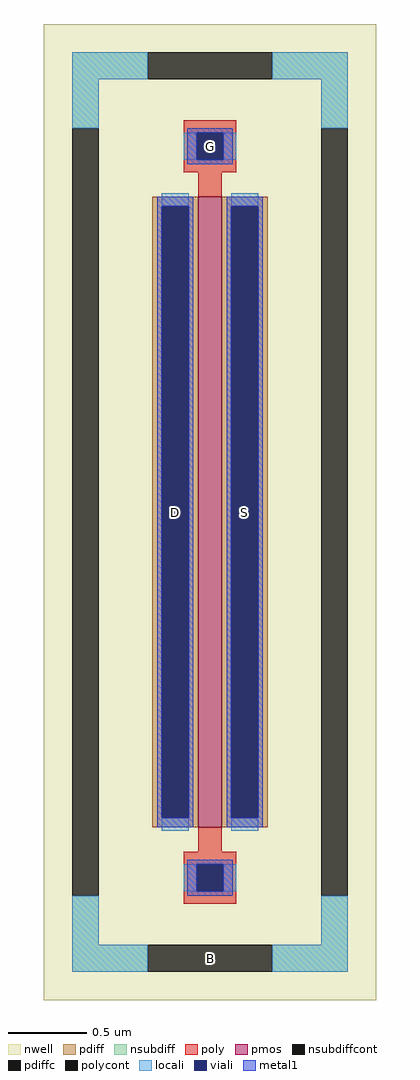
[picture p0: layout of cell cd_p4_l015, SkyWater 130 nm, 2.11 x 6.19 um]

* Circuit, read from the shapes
.subckt cd_p4_l015 B D S G
XM1 S G D B sky130_fd_pr__pfet_01v8 w=4 l=0.15
.ends

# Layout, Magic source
magic
tech sky130A
magscale 1 2
<< nwell >>
rect -211 -619 211 619
<< pmos >>
rect -15 -400 15 400
<< pdiff >>
rect -73 388 -15 400
rect -73 -388 -61 388
rect -27 -388 -15 388
rect -73 -400 -15 -388
rect 15 388 73 400
rect 15 -388 27 388
rect 61 -388 73 388
rect 15 -400 73 -388
<< pdiffc >>
rect -61 -388 -27 388
rect 27 -388 61 388
<< nsubdiff >>
rect -175 549 -79 583
rect 79 549 175 583
rect -175 487 -141 549
rect 141 487 175 549
rect -175 -549 -141 -487
rect 141 -549 175 -487
rect -175 -583 -79 -549
rect 79 -583 175 -549
<< nsubdiffcont >>
rect -79 549 79 583
rect -175 -487 -141 487
rect 141 -487 175 487
rect -79 -583 79 -549
<< poly >>
rect -33 481 33 497
rect -33 447 -17 481
rect 17 447 33 481
rect -33 431 33 447
rect -15 400 15 431
rect -15 -431 15 -400
rect -33 -447 33 -431
rect -33 -481 -17 -447
rect 17 -481 33 -447
rect -33 -497 33 -481
<< polycont >>
rect -17 447 17 481
rect -17 -481 17 -447
<< locali >>
rect -175 549 -79 583
rect 79 549 175 583
rect -175 487 -141 549
rect 141 487 175 549
rect -33 447 -17 481
rect 17 447 33 481
rect -61 388 -27 404
rect -61 -404 -27 -388
rect 27 388 61 404
rect 27 -404 61 -388
rect -33 -481 -17 -447
rect 17 -481 33 -447
rect -175 -549 -141 -487
rect 141 -549 175 -487
rect -175 -583 -79 -549
rect 79 -583 175 -549
<< viali >>
rect -17 447 17 481
rect -61 -388 -27 388
rect 27 -388 61 388
rect -17 -481 17 -447
<< metal1 >>
rect -29 481 29 487
rect -29 447 -17 481
rect 17 447 29 481
rect -29 441 29 447
rect -67 388 -21 400
rect -67 -388 -61 388
rect -27 -388 -21 388
rect -67 -400 -21 -388
rect 21 388 67 400
rect 21 -388 27 388
rect 61 -388 67 388
rect 21 -400 67 -388
rect -29 -447 29 -441
rect -29 -481 -17 -447
rect 17 -481 29 -447
rect -29 -487 29 -481
<< labels >>
rlabel nsubdiffcont 0 -566 0 -566 0 B
port 1 nsew
rlabel pdiffc -44 0 -44 0 0 D
port 2 nsew
rlabel pdiffc 44 0 44 0 0 S
port 3 nsew
rlabel polycont 0 464 0 464 0 G
port 4 nsew
<< properties >>
string FIXED_BBOX -158 -566 158 566
<< end >>
